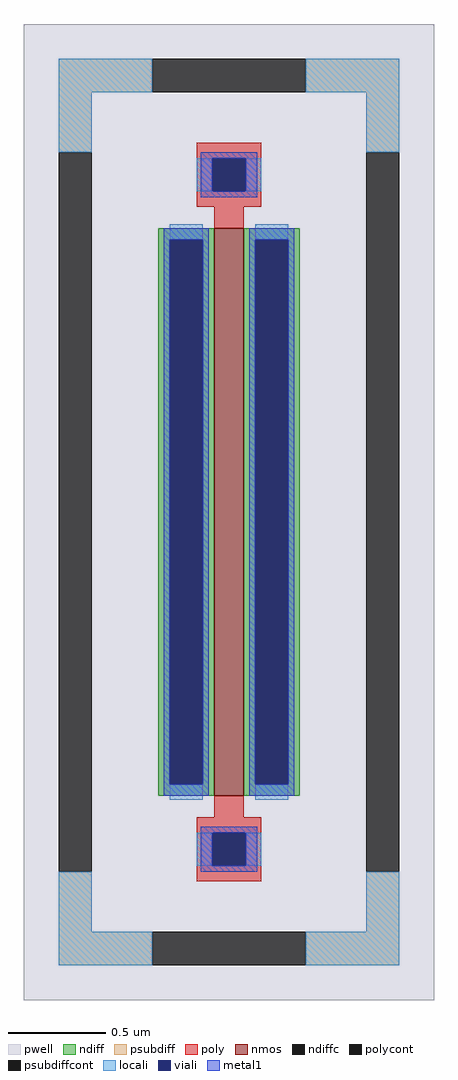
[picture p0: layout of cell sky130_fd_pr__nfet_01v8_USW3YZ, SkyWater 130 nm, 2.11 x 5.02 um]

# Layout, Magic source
magic
tech sky130A
magscale 1 2
<< pwell >>
rect -211 -502 211 502
<< nmos >>
rect -15 -292 15 292
<< ndiff >>
rect -73 280 -15 292
rect -73 -280 -61 280
rect -27 -280 -15 280
rect -73 -292 -15 -280
rect 15 280 73 292
rect 15 -280 27 280
rect 61 -280 73 280
rect 15 -292 73 -280
<< ndiffc >>
rect -61 -280 -27 280
rect 27 -280 61 280
<< psubdiff >>
rect -175 432 -79 466
rect 79 432 175 466
rect -175 370 -141 432
rect 141 370 175 432
rect -175 -432 -141 -370
rect 141 -432 175 -370
rect -175 -466 -79 -432
rect 79 -466 175 -432
<< psubdiffcont >>
rect -79 432 79 466
rect -175 -370 -141 370
rect 141 -370 175 370
rect -79 -466 79 -432
<< poly >>
rect -33 364 33 380
rect -33 330 -17 364
rect 17 330 33 364
rect -33 314 33 330
rect -15 292 15 314
rect -15 -314 15 -292
rect -33 -330 33 -314
rect -33 -364 -17 -330
rect 17 -364 33 -330
rect -33 -380 33 -364
<< polycont >>
rect -17 330 17 364
rect -17 -364 17 -330
<< locali >>
rect -175 432 -79 466
rect 79 432 175 466
rect -175 370 -141 432
rect 141 370 175 432
rect -33 330 -17 364
rect 17 330 33 364
rect -61 280 -27 296
rect -61 -296 -27 -280
rect 27 280 61 296
rect 27 -296 61 -280
rect -33 -364 -17 -330
rect 17 -364 33 -330
rect -175 -432 -141 -370
rect 141 -432 175 -370
rect -175 -466 -79 -432
rect 79 -466 175 -432
<< viali >>
rect -17 330 17 364
rect -61 -280 -27 280
rect 27 -280 61 280
rect -17 -364 17 -330
<< metal1 >>
rect -29 364 29 370
rect -29 330 -17 364
rect 17 330 29 364
rect -29 324 29 330
rect -67 280 -21 292
rect -67 -280 -61 280
rect -27 -280 -21 280
rect -67 -292 -21 -280
rect 21 280 67 292
rect 21 -280 27 280
rect 61 -280 67 280
rect 21 -292 67 -280
rect -29 -330 29 -324
rect -29 -364 -17 -330
rect 17 -364 29 -330
rect -29 -370 29 -364
<< properties >>
string FIXED_BBOX -158 -449 158 449
string gencell sky130_fd_pr__nfet_01v8
string library sky130
string parameters w 2.92 l 0.15 m 1 nf 1 diffcov 100 polycov 100 guard 1 glc 1 grc 1 gtc 1 gbc 1 tbcov 100 rlcov 100 topc 1 botc 1 poverlap 0 doverlap 1 lmin 0.15 wmin 0.42 compatible {sky130_fd_pr__nfet_01v8 sky130_fd_pr__nfet_01v8_lvt  sky130_fd_bs_flash__special_sonosfet_star  sky130_fd_pr__nfet_g5v0d10v5 sky130_fd_pr__nfet_05v0_nvt  sky130_fd_pr__nfet_03v3_nvt} full_metal 1 viasrc 100 viadrn 100 viagate 100 viagb 0 viagr 0 viagl 0 viagt 0
<< end >>
